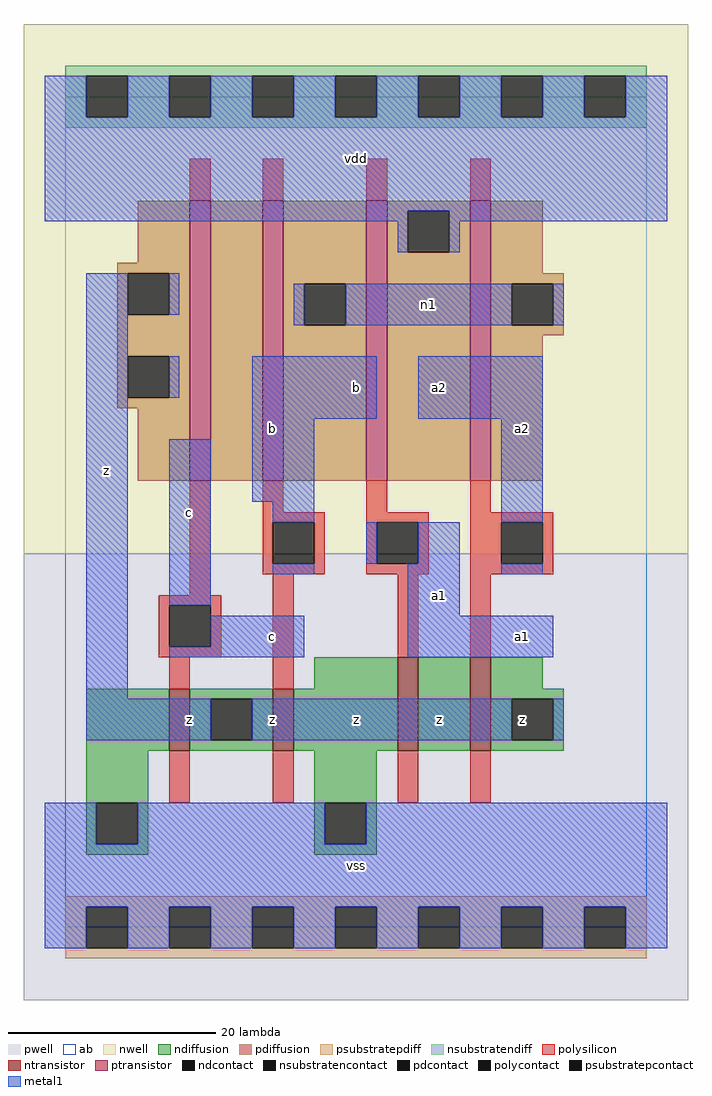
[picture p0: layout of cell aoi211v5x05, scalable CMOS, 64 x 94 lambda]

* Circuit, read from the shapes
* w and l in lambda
.subckt aoi211v5x05 a1 a2 b c n1 vdd vss z
M1 z c vss vss nfet w=6 l=2
M2 vss b z vss nfet w=6 l=2
M3 n2 a1 vss vss nfet w=9 l=2
M4 z a2 n2 vss nfet w=9 l=2
M5 n3 c z vdd pfet w=27 l=2
M6 n1 b n3 vdd pfet w=27 l=2
M7 vdd a1 n1 vdd pfet w=27 l=2
M8 n1 a2 vdd vdd pfet w=27 l=2
.ends

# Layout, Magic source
magic
tech scmos
<< ab >>
rect 0 0 56 80
<< pwell >>
rect -4 -7 60 36
<< nwell >>
rect -4 36 60 87
<< polysilicon >>
rect 12 70 14 74
rect 19 70 21 74
rect 29 70 31 74
rect 39 70 41 74
rect 12 32 14 43
rect 19 40 21 43
rect 29 40 31 43
rect 39 40 41 43
rect 19 39 25 40
rect 19 35 20 39
rect 24 35 25 39
rect 19 34 25 35
rect 29 39 35 40
rect 29 35 30 39
rect 34 35 35 39
rect 29 34 35 35
rect 39 39 47 40
rect 39 35 42 39
rect 46 35 47 39
rect 39 34 47 35
rect 9 31 15 32
rect 9 27 10 31
rect 14 27 15 31
rect 9 26 15 27
rect 10 23 12 26
rect 20 23 22 34
rect 32 26 34 34
rect 39 26 41 34
rect 10 12 12 17
rect 20 12 22 17
rect 32 12 34 17
rect 39 12 41 17
<< ndiffusion >>
rect 24 23 32 26
rect 2 17 10 23
rect 12 22 20 23
rect 12 18 14 22
rect 18 18 20 22
rect 12 17 20 18
rect 22 17 32 23
rect 34 17 39 26
rect 41 23 46 26
rect 41 22 48 23
rect 41 18 43 22
rect 47 18 48 22
rect 41 17 48 18
rect 2 12 8 17
rect 24 12 30 17
rect 2 8 3 12
rect 7 8 8 12
rect 2 7 8 8
rect 24 8 25 12
rect 29 8 30 12
rect 24 7 30 8
<< pdiffusion >>
rect 7 64 12 70
rect 5 63 12 64
rect 5 59 6 63
rect 10 59 12 63
rect 5 55 12 59
rect 5 51 6 55
rect 10 51 12 55
rect 5 50 12 51
rect 7 43 12 50
rect 14 43 19 70
rect 21 62 29 70
rect 21 58 23 62
rect 27 58 29 62
rect 21 43 29 58
rect 31 69 39 70
rect 31 65 33 69
rect 37 65 39 69
rect 31 43 39 65
rect 41 63 46 70
rect 41 62 48 63
rect 41 58 43 62
rect 47 58 48 62
rect 41 57 48 58
rect 41 43 46 57
<< metal1 >>
rect -2 78 2 82
rect 6 78 10 82
rect 14 78 18 82
rect 22 78 26 82
rect 30 78 34 82
rect 38 78 42 82
rect 46 78 50 82
rect 54 78 58 82
rect -2 69 58 78
rect -2 68 33 69
rect 32 65 33 68
rect 37 68 58 69
rect 37 65 38 68
rect 2 22 6 63
rect 10 59 11 63
rect 22 58 23 62
rect 27 58 43 62
rect 47 58 48 62
rect 10 51 11 55
rect 18 49 30 55
rect 34 49 46 55
rect 10 31 14 47
rect 18 41 24 49
rect 20 39 24 41
rect 42 39 46 49
rect 29 35 30 39
rect 34 35 38 39
rect 20 34 24 35
rect 33 30 38 35
rect 42 34 46 35
rect 14 27 23 30
rect 10 26 23 27
rect 33 26 47 30
rect 2 18 14 22
rect 18 18 43 22
rect 47 18 48 22
rect -2 8 3 12
rect 7 8 25 12
rect 29 8 58 12
rect -2 2 58 8
rect -2 -2 2 2
rect 6 -2 10 2
rect 14 -2 18 2
rect 22 -2 26 2
rect 30 -2 34 2
rect 38 -2 42 2
rect 46 -2 50 2
rect 54 -2 58 2
<< ntransistor >>
rect 10 17 12 23
rect 20 17 22 23
rect 32 17 34 26
rect 39 17 41 26
<< ptransistor >>
rect 12 43 14 70
rect 19 43 21 70
rect 29 43 31 70
rect 39 43 41 70
<< polycontact >>
rect 20 35 24 39
rect 30 35 34 39
rect 42 35 46 39
rect 10 27 14 31
<< ndcontact >>
rect 14 18 18 22
rect 43 18 47 22
rect 3 8 7 12
rect 25 8 29 12
<< pdcontact >>
rect 6 59 10 63
rect 6 51 10 55
rect 23 58 27 62
rect 33 65 37 69
rect 43 58 47 62
<< psubstratepcontact >>
rect 2 -2 6 2
rect 10 -2 14 2
rect 18 -2 22 2
rect 26 -2 30 2
rect 34 -2 38 2
rect 42 -2 46 2
rect 50 -2 54 2
<< nsubstratencontact >>
rect 2 78 6 82
rect 10 78 14 82
rect 18 78 22 82
rect 26 78 30 82
rect 34 78 38 82
rect 42 78 46 82
rect 50 78 54 82
<< psubstratepdiff >>
rect 0 2 56 3
rect 0 -2 2 2
rect 6 -2 10 2
rect 14 -2 18 2
rect 22 -2 26 2
rect 30 -2 34 2
rect 38 -2 42 2
rect 46 -2 50 2
rect 54 -2 56 2
rect 0 -3 56 -2
<< nsubstratendiff >>
rect 0 82 56 83
rect 0 78 2 82
rect 6 78 10 82
rect 14 78 18 82
rect 22 78 26 82
rect 30 78 34 82
rect 38 78 42 82
rect 46 78 50 82
rect 54 78 56 82
rect 0 77 56 78
<< labels >>
rlabel metal1 4 44 4 44 6 z
rlabel metal1 12 20 12 20 6 z
rlabel metal1 12 40 12 40 6 c
rlabel metal1 28 6 28 6 6 vss
rlabel metal1 20 28 20 28 6 c
rlabel metal1 20 20 20 20 6 z
rlabel metal1 28 20 28 20 6 z
rlabel metal1 28 52 28 52 6 b
rlabel metal1 20 48 20 48 6 b
rlabel metal1 28 74 28 74 6 vdd
rlabel metal1 36 20 36 20 6 z
rlabel metal1 44 28 44 28 6 a1
rlabel ndcontact 44 20 44 20 6 z
rlabel metal1 36 32 36 32 6 a1
rlabel metal1 44 48 44 48 6 a2
rlabel metal1 36 52 36 52 6 a2
rlabel metal1 35 60 35 60 6 n1
<< end >>
